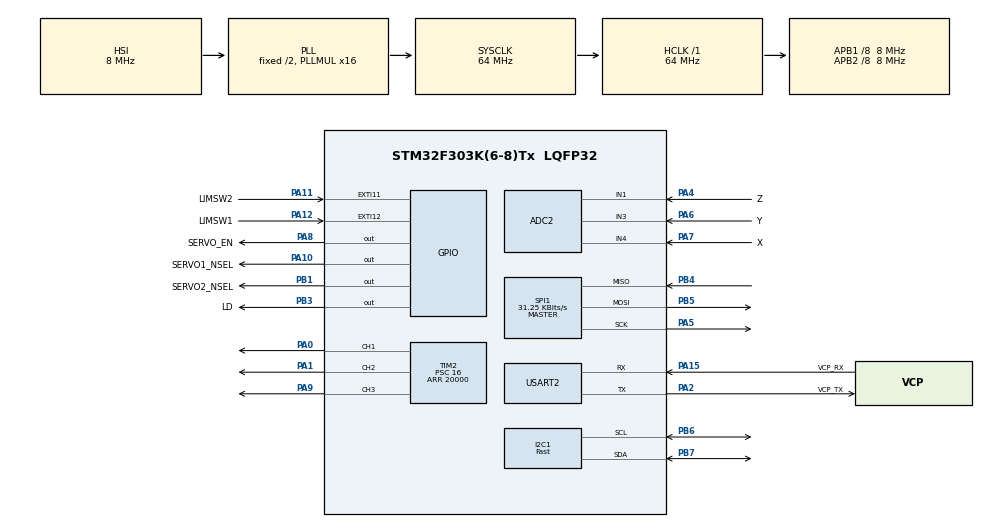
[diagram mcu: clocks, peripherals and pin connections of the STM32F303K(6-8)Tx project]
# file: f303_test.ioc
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Mcu.Family=STM32F3
NVIC.ADC1_2_IRQn=true\:0\:0\:false\:false\:true\:true\:true
ADC2.OffsetNumber-2\#ChannelRegularConversion=ADC_OFFSET_NONE
RCC.CortexFreq_Value=64000000
I2C1.I2C_Speed_Mode=I2C_Fast
PF0\ /\ OSC_IN.Mode=HSE-External-Clock-Source
SPI1.VirtualType=VM_MASTER
ADC2.SamplingTime-1\#ChannelRegularConversion=ADC_SAMPLETIME_601CYCLES_5
ADC2.Channel-0\#ChannelRegularConversion=ADC_CHANNEL_1
PA10.GPIO_PuPd=GPIO_PULLUP
SH.SharedAnalog_PA4.0=GPIO_Analog
SH.SharedAnalog_PA4.1=ADC2_IN1,IN1-Single-Ended
PA14.GPIO_Label=SWCLK
RCC.SYSCLKSourceVirtual=RCC_SYSCLKSOURCE_PLLCLK
PA6.GPIO_Label=Y
TIM2.Channel-PWM\ Generation2\ CH2=TIM_CHANNEL_2
ProjectManager.StackSize=0x400
PA15.GPIO_Label=VCP_RX
PA12.Signal=GPXTI12
ADC2.DMAContinuousRequests=ENABLE
SPI1.Direction=SPI_DIRECTION_2LINES
PB1.GPIO_PuPd=GPIO_PULLUP
RCC.HCLKFreq_Value=64000000
RCC.APB2TimFreq_Value=16000000
PB6.Signal=I2C1_SCL
PB6.Mode=I2C
SPI1.CalculateBaudRate=31.25 KBits/s
RCC.AHBFreq_Value=64000000
RCC.HSE_VALUE=8000000
USART2.VirtualMode-Asynchronous=VM_ASYNC
PA15.Mode=Asynchronous
RCC.PLLMUL=RCC_PLL_MUL16
Dma.ADC2.1.Instance=DMA1_Channel2
PB4.Mode=Full_Duplex_Master
PA14.Mode=Serial_Wire
PF0\ /\ OSC_IN.GPIO_Label=MCO
Dma.MEMTOMEM.0.Instance=DMA1_Channel1
PB1.GPIO_Label=SERVO2_NSEL
PB5.Mode=Full_Duplex_Master
NVIC.TIM2_IRQn=true\:0\:0\:false\:false\:true\:true\:true
SPI1.DataSize=SPI_DATASIZE_16BIT
PA10.GPIO_Label=SERVO1_NSEL
SH.SharedAnalog_PA6.0=GPIO_Analog
SH.SharedAnalog_PA6.1=ADC2_IN3,IN3-Single-Ended
PB7.Signal=I2C1_SDA
PA8.Signal=GPIO_Output
Dma.ADC2.1.PeriphInc=DMA_PINC_DISABLE
TIM2.Channel-PWM\ Generation1\ CH1=TIM_CHANNEL_1
PA0.Signal=S_TIM2_CH1_ETR
Mcu.Package=LQFP32
TIM2.Prescaler=16
PA6.Signal=SharedAnalog_PA6
PB1.Signal=GPIO_Output
ADC2.Offset-0\#ChannelRegularConversion=0
Dma.MEMTOMEM.0.PeriphInc=DMA_PINC_ENABLE
PA2.GPIO_Label=VCP_TX
ADC2.Channel-1\#ChannelRegularConversion=ADC_CHANNEL_3
PA10.Signal=GPIO_Output
ADC2.Offset-2\#ChannelRegularConversion=0
PA15.Signal=USART2_RX
ADC2.SamplingTime-0\#ChannelRegularConversion=ADC_SAMPLETIME_601CYCLES_5
RCC.APB2CLKDivider=RCC_HCLK_DIV8
ADC2.SamplingTime-2\#ChannelRegularConversion=ADC_SAMPLETIME_601CYCLES_5
ADC2.NbrOfConversion=3
Dma.Request1=ADC2
RCC.APB1TimFreq_Value=16000000
ADC2.Rank-2\#ChannelRegularConversion=3
ADC2.Rank-0\#ChannelRegularConversion=1
Dma.Request0=MEMTOMEM
SPI1.BaudRatePrescaler=SPI_BAUDRATEPRESCALER_256
PA4.GPIO_Label=Z
Dma.ADC2.1.PeriphDataAlignment=DMA_PDATAALIGN_HALFWORD
PB4.Signal=SPI1_MISO
PA5.Mode=Full_Duplex_Master
PB3.GPIO_Label=LD
Dma.MEMTOMEM.0.MemDataAlignment=DMA_MDATAALIGN_BYTE
Dma.MEMTOMEM.0.Priority=DMA_PRIORITY_LOW
PA11.GPIO_Label=LIMSW2
RCC.APB1CLKDivider=RCC_HCLK_DIV8
NVIC.USART2_IRQn=true\:0\:0\:false\:false\:true\:true\:true
PA12.GPIO_Label=LIMSW1
PA13.Signal=SYS_JTMS-SWDIO
SH.S_TIM2_CH2.0=TIM2_CH2,PWM Generation2 CH2
PA8.GPIO_Label=SERVO_EN
SH.SharedAnalog_PA7.1=ADC2_IN4,IN4-Single-Ended
ADC2.ContinuousConvMode=ENABLE
NVIC.DMA1_Channel2_IRQn=true\:0\:0\:false\:false\:true\:false\:true
ProjectManager.TargetToolchain=SW4STM32
SH.SharedAnalog_PA7.0=GPIO_Analog
PA9.Signal=S_TIM2_CH3
I2C1.Timing=0x0000020B
Dma.ADC2.1.Mode=DMA_CIRCULAR
PA1.Signal=S_TIM2_CH2
ADC2.OffsetNumber-1\#ChannelRegularConversion=ADC_OFFSET_NONE
PA5.Signal=SPI1_SCK
ADC2.OffsetNumber-0\#ChannelRegularConversion=ADC_OFFSET_NONE
board=NUCLEO-F303K8
ADC2.Channel-2\#ChannelRegularConversion=ADC_CHANNEL_4
ADC2.Offset-1\#ChannelRegularConversion=0
RCC.APB2Freq_Value=8000000
PF0\ /\ OSC_IN.Signal=RCC_OSC_IN
SH.S_TIM2_CH3.0=TIM2_CH3,PWM Generation3 CH3
SPI1.Mode=SPI_MODE_MASTER
TIM2.Channel-PWM\ Generation3\ CH3=TIM_CHANNEL_3
Dma.ADC2.1.MemInc=DMA_MINC_ENABLE
TIM2.Period=20000
PA13.Mode=Serial_Wire
Mcu.Name=STM32F303K(6-8)Tx
PA2.Signal=USART2_TX
PA13.GPIO_Label=SWDIO
Dma.MEMTOMEM.0.PeriphDataAlignment=DMA_PDATAALIGN_BYTE
PB3.Signal=GPIO_Output
PA4.Signal=SharedAnalog_PA4
RCC.SYSCLKFreq_VALUE=64000000
PB5.Signal=SPI1_MOSI
Dma.ADC2.1.Direction=DMA_PERIPH_TO_MEMORY
PA7.GPIO_Label=X
ADC2.NbrOfConversionFlag=1
Dma.MEMTOMEM.0.Mode=DMA_NORMAL
Dma.MEMTOMEM.0.MemInc=DMA_MINC_ENABLE
PB7.Mode=I2C
PA11.Signal=GPXTI11
SH.S_TIM2_CH1_ETR.0=TIM2_CH1,PWM Generation1 CH1
PA14.Signal=SYS_JTCK-SWCLK
ProjectManager.HeapSize=0x200
RCC.HSI_VALUE=8000000
PA8.GPIO_PuPd=GPIO_PULLDOWN
NVIC.PriorityGroup=NVIC_PRIORITYGROUP_4
Dma.ADC2.1.MemDataAlignment=DMA_MDATAALIGN_HALFWORD
ADC2.Rank-1\#ChannelRegularConversion=2
PA2.Mode=Asynchronous
Dma.MEMTOMEM.0.Direction=DMA_MEMORY_TO_MEMORY
Dma.ADC2.1.Priority=DMA_PRIORITY_LOW
NVIC.DMA1_Channel1_IRQn=true\:0\:0\:false\:false\:true\:true\:true
RCC.APB1Freq_Value=8000000
PA7.Signal=SharedAnalog_PA7

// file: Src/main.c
/* USER CODE BEGIN Header */
/**
  ******************************************************************************
  * @file           : main.c
  * @brief          : Main program body
  ******************************************************************************
  * @attention
  *
  * <h2><center>&copy; Copyright (c) 2020 STMicroelectronics.
  * All rights reserved.</center></h2>
  *
  * This software component is licensed by ST under BSD 3-Clause license,
  * the "License"; You may not use this file except in compliance with the
  * License. You may obtain a copy of the License at:
  *                        opensource.org/licenses/BSD-3-Clause
  *
  ******************************************************************************
  */
/* USER CODE END Header */

#include "main.h"
#include "adc.h"
#include "dma.h"
#include "i2c.h"
#include "spi.h"
#include "tim.h"
#include "usart.h"
#include "gpio.h"

/* USER CODE BEGIN Includes */
#include "ik_test.h"
#include <stdlib.h>
#include "kin.h"
#include "traj.h"
#include "traj_qsp.h"
#include "consts.h"
#include "math_util.h"
#include "as1130.h"
#include "imath.h"
#include "hand_ctrl.h"
#include <math.h>
#include <string.h>
//#include <math.h>
/* USER CODE END Includes */

/* USER CODE BEGIN PV */
volatile global_state_t __STATE = GLOBAL_RESET;

typedef struct hand_ctrl_cfg_s {
	int16_t rng[2];
	uint16_t lims[2];
	int8_t sgn;
} hand_ctrl_cfg_t;
volatile uint16_t hand_ctrl_buf[NUM_HAND_CTRL_BUF * NUM_HAND_CTRL_AX] = { 0 };
uint16_t hand_ctrl_buf_2[NUM_HAND_CTRL_BUF * NUM_HAND_CTRL_AX] = { 0 };
int32_t hand_ctrl_norm[2][NUM_HAND_CTRL_AX] = { 0 };
const int32_t HAND_CTRL_D_COEF[NUM_HAND_CTRL_D_COEF] = { -85, 384, -768, 469 };
const hand_ctrl_cfg_t HAND_CTRL_RNGS[NUM_HAND_CTRL_AX] = {
//	{ .rng = { 800, 4600 }, .lims = { 1200, 4096 }, .sgn = 1 },
//	{ .rng = { 0, 3198 }, .lims = { 0/, 1600 }, .sgn = -1 },
//	{ .rng = { -500, 4600 }, .lims = { 509, 3600 }, .sgn = 1 },
		{ .rng = { -500, 5096 }, .lims = { 0, 4096 }, .sgn = 1 },
		{ .rng = { 0, 3198 }, .lims = { 0, 1600 }, .sgn = -1 },
		{ .rng = { -1000, 5600 }, .lims = { 0, 4096 }, .sgn = 1 },
};
extern const int16_t HAND_CTRL_LUT[8][16][16][2][3];
// map the ADC via channel order to XYZ

//volatile uint8_t adc_ch = 0, adc_buf_idx = 0;
int16_t pos_dbl_buf[2][NUM_POS_ELE] = { 0 };
volatile int16_t pos[NUM_POS_ELE] = { 0 };
volatile uint8_t _buf_fresh = 0, _con_fresh = 0;
volatile uint16_t tick_fin_buf = 0, tick_fin = 0, tick_start_buf = 0, tick_cur = 1; // start with consumer hungry
int32_t A[4] = { 0, A1, A2, A3 };

volatile int32_t uart_buf[20], uart_buf_b[20];

extern DMA_HandleTypeDef hdma_adc2;
extern UART_HandleTypeDef huart2;
const joint_phys_t JOINT_PHYS[3] = {
		{ T0_HW, SMAX_HW, I_HW },
		{ T0_HS, SMAX_HS, I_HS },
		{ T0_DS, SMAX_DS, I_DS },
};
const uint16_t MIDs[3] = { CCR_MID_HW, CCR_MID_HS, CCR_MID_DS };
const uint16_t RNGs[3] = { RNG_HW / 2, RNG_HS / 2, RNG_DS / 2 };
const uint16_t PER_RADS[3] = { CCR_PER_RAD_HW, CCR_PER_RAD_HS, CCR_PER_RAD_DS };
int32_t vf_prev[3] = { 0 }; // previous final velocity
int32_t t_prev[3] = { 0 }; // previous target angles (after inv kin)
const int8_t RHR_SGNS[3] = { SGN_HW, SGN_HS, SGN_DS };

// bitmaps
extern const uint8_t bump[NBUMP][NBUMP];
/* USER CODE END PV */

void SystemClock_Config(void);
/* USER CODE BEGIN PFP */
static void sph2xyz(int32_t *sph, int32_t *sphd, int32_t *xyz, int32_t *xyzd);
uint16_t pos_idx(void);
void mcp1130_txrx(void);
static void adc_rx();
/* USER CODE END PFP */

int main(void)
{

  /* MCU Configuration--------------------------------------------------------*/

  /* Reset of all peripherals, Initializes the Flash interface and the Systick. */
  HAL_Init();

  /* Configure the system clock */
  SystemClock_Config();

  /* Initialize all configured peripherals */
  MX_GPIO_Init();
  MX_DMA_Init();
  MX_USART2_UART_Init();
  MX_ADC2_Init();
  MX_I2C1_Init();
  MX_SPI1_Init();
  MX_TIM2_Init();
  /* USER CODE BEGIN 2 */

  HAL_TIM_Base_Start_IT(&htim2);

//  AS1130_Init();

  htim2.Instance->CCER |= TIM_CCER_CC1E | TIM_CCER_CC2E | TIM_CCER_CC3E;

  HAL_GPIO_WritePin(SERVO_EN_GPIO_Port, SERVO_EN_Pin, GPIO_PIN_SET);
  uint16_t R0 = A[1] + A[2] + A[3];

  mcp1130_txrx();
  adc_rx();

  ////////////
  // HOMING //
  ////////////

  __STATE = GLOBAL_HOMING;
  //  __HAL_TIM_SET_COMPARE(&htim2, TIM_CHANNEL_1, MIDs[1] - RNGs[1]);
  //  while(1);
//  for(; 0 && __STATE == GLOBAL_HOMING && HAL_GPIO_ReadPin(LIMSW1_GPIO_Port, LIMSW1_Pin); j0_ccr_adjust = max(MIN_HOMING_CCR, j0_ccr_adjust - HOMING_STRIDE)) {
//	  __HAL_TIM_SET_COMPARE(&htim2, TIM_CHANNEL_3, MIDs[0] + j0_ccr_adjust);
//	  HAL_Delay(HOMING_TICK);
//  }
  __STATE = GLOBAL_RUN;
  /* USER CODE END 2 */

  /* Infinite loop */
  /* USER CODE BEGIN WHILE */
  int16_t pos_stash[POS_STRIDE] = { 0 };
  for (volatile uint32_t ticks = 0; ; ticks++)
  {
    /* USER CODE END WHILE */

    /* USER CODE BEGIN 3 */
	  if(0) {
		  uint16_t tick = pos_idx();
		  uint16_t loc[2] = {
				  (pos[tick * POS_STRIDE + 1 * NUM_POS_DERIV] * PER_RADS[1] / RNGs[1] / 2) + 127,
				  -(pos[tick * POS_STRIDE + 0 * NUM_POS_DERIV] * PER_RADS[0] / RNGs[0] / 2) + 127,
		  };
		  uint8_t *square = bump; // { 0x80, 0x80, 0x80, 0x80, 0x80, 0x80, 0x80, 0x80, 0x80, };
		  uint16_t dims[2] = { NBUMP, NBUMP }; // { 3, 3 };
		  uint16_t scale[2] = {
				  32, // + abs(pos[tick * POS_STRIDE + 0 * NUM_POS_DERIV] - pos[max(0, tick - 1) * POS_STRIDE + 0 * NUM_POS_DERIV]) * 512 * 6 / NBUMP,
				  32, // + abs(pos[tick * POS_STRIDE + 1 * NUM_POS_DERIV] - pos[max(0, tick - 1) * POS_STRIDE + 1 * NUM_POS_DERIV]) * 512 * 6 / NBUMP
		  };
		  AS1130_blit(square, dims, loc, scale);
	  }

	  {
		  float max_tf = 0.0f, tf[3] = { 0 };
		  int32_t xyz[3] = { 0 }, xyzd[3] = { 0 }, t[3] = { 0 }, v[3] = { 0 }, tp[3] = { 0 };
		  float tp_[3];
		  uint8_t _converged = 0, _hand_ctrl_moved = 0;

		  ///////////////////////////////
		  // CONVERSIONS FOR HAND CTRL //
		  ///////////////////////////////

		  // calculate hand controller speeds
		  uint8_t hand_ctrl_i0;
		  {
			  size_t tf_size = NUM_HAND_CTRL_BUF * NUM_HAND_CTRL_AX * sizeof(hand_ctrl_buf[0]);
			  //			  __disable_irq();
			  // sensitive region copying buffer
			  // consider disabling interrupts
			  // although this should happen much faster than values change on the controller
			  // that's what's really important
			  hand_ctrl_i0 = hdma_adc2.Instance->CNDTR;
			  memcpy(hand_ctrl_buf_2, hand_ctrl_buf, tf_size);
			  //			  __enable_irq();
		  }

		  hand_ctrl_i0 /= NUM_HAND_CTRL_AX; // watch for round-down division
		  hand_ctrl_i0 = (NUM_HAND_CTRL_BUF - hand_ctrl_i0 + 2) % NUM_HAND_CTRL_BUF; // (NUM_HAND_CTRL_BUF - NUM_HAND_CTRL_D_COEF - 1)
		  int32_t hand_ctrl_d_buf[NUM_HAND_CTRL_D_COEF][NUM_HAND_CTRL_AX] = { 0 },
				  hand_ctrl_d[NUM_HAND_CTRL_AX] = { 0 }; // 256-units
		  {
			  uint16_t stride = NUM_HAND_CTRL_BUF / NUM_HAND_CTRL_D_COEF / HAND_CTRL_BUF_DS - 1, // -1 to ensure we always miss at least the one potentially incomplete sample currently being DMA'd
					  n_iter = stride * NUM_HAND_CTRL_D_COEF;
			  // downsample by `stride` via averaging
			  // plus hard downsampling by HAND_CTRL_BUF_DS
			  for(uint16_t i = 0; i < n_iter; i++) {
				  for(uint16_t k = 0; k < NUM_HAND_CTRL_AX; k++) {
					  hand_ctrl_d_buf[i / stride][k] +=
							  max(HAND_CTRL_RNGS[k].lims[0],
									  min(HAND_CTRL_RNGS[k].lims[1],
											  hand_ctrl_buf_2[((hand_ctrl_i0 + i * HAND_CTRL_BUF_DS) & (NUM_HAND_CTRL_BUF - 1)) * NUM_HAND_CTRL_AX + k]
									  )
							  );
				  }
			  }
			  for(uint16_t i = 0; i < NUM_HAND_CTRL_D_COEF; i++) {
				  for(uint16_t k = 0; k < NUM_HAND_CTRL_AX; k++) {
					  hand_ctrl_d_buf[i][k] /= stride;
				  }
			  }

			  // perform derivative
			  if(0) {
				  const uint16_t HALF_ADC_BITS = 9;
				  for(uint16_t i = 0; i < NUM_HAND_CTRL_D_COEF; i++) {
					  for(uint16_t k = 0; k < NUM_HAND_CTRL_AX; k++)
						  hand_ctrl_d[k] +=
								  ((hand_ctrl_d_buf[i][k] * HAND_CTRL_D_COEF[i]) >> HALF_ADC_BITS) // cut down dynamic range a bit
								  * R0 / (stride * HAND_CTRL_BUF_DS) * ADC_FREQ / NUM_HAND_CTRL_AX
								  / ((HAND_CTRL_RNGS[k].rng[1] - HAND_CTRL_RNGS[k].rng[0] >> 1) >> HALF_ADC_BITS)
								  * HAND_CTRL_RNGS[k].sgn
								  >> _W; // convert to 256-m/s
				  }
			  }

			  // average previously subsampled values
			  memset(&hand_ctrl_norm[1][0], 0, NUM_HAND_CTRL_AX * sizeof(hand_ctrl_norm[1][0]));
			  for(uint16_t i = 0; i < NUM_HAND_CTRL_D_COEF; i++) {
				  for(uint16_t k = 0; k < NUM_HAND_CTRL_AX; k++)
					  hand_ctrl_norm[1][k] +=
							  ((hand_ctrl_d_buf[i][k] - ((HAND_CTRL_RNGS[k].rng[1] + HAND_CTRL_RNGS[k].rng[0]) >> 1)) << _W)
							  / (HAND_CTRL_RNGS[k].rng[1] - HAND_CTRL_RNGS[k].rng[0] >> 1)
							  * HAND_CTRL_RNGS[k].sgn;
			  }
			  for(uint16_t k = 0; k < NUM_HAND_CTRL_AX; k++) {
				  hand_ctrl_norm[1][k] /= NUM_HAND_CTRL_D_COEF; // convert to 256-norm (+/-1) centered around 0
			  }

			  for(uint8_t i = 0; i < NUM_HAND_CTRL_AX; i++) {
				  if(abs(hand_ctrl_norm[0][i] - hand_ctrl_norm[1][i]) > HAND_CTRL_DEADBAND) {
					  memcpy(&hand_ctrl_norm[0][0], &hand_ctrl_norm[1][0], NUM_HAND_CTRL_AX * sizeof(hand_ctrl_norm[1][0]));
					  _hand_ctrl_moved = 1;
					  // itrig functions domain 0->256 => 0->2pi, range -128->127 => -1->1
					  // controller 0 1 2 -> yaw radius pitch
//					  int32_t sph = { hand_ctrl_norm[0][2], hand_ctrl_norm[0][0], hand_ctrl_norm[0][1] };
//					  int32_t sphd = { hand_ctrl_d[2], hand_ctrl_d[0], hand_ctrl_d[1] };
//					  sph2xyz(sph, sphd, xyz, xyzd);
					  break;
				  }
			  }
		  }

		  int16_t tick_fin_stash, tick_cur_stash;
		  {
			  __disable_irq();
			  _con_fresh = 0;
			  tick_fin_stash = tick_fin;
			  tick_cur_stash = tick_cur;
			  uint16_t tick = pos_idx();
			  memcpy(pos_stash, &pos[tick * POS_STRIDE], POS_STRIDE * sizeof(pos[0]));
			  __enable_irq();
		  }

		  if(_hand_ctrl_moved) { // (!inv_kin(A, Ts_[Ts_idx & (NUM_CART_POS - 1)], t, t_prev[0]) && !inv_jacob(A, t, &Ts_[Ts_idx & (NUM_CART_POS - 1)][3], tp_)) { // uart_buf, uart_buf[3]
			  uint32_t dist_wgts[3] = { 2, 1, 1 };
			  {
				  // az, el, rad
				  int32_t sph[3] = { -hand_ctrl_norm[0][2], hand_ctrl_norm[0][0], hand_ctrl_norm[0][1] };
				  int32_t sphd[3] = { hand_ctrl_d[2], hand_ctrl_d[0], hand_ctrl_d[1] };
				  uint8_t lut_xyz[3] = { abs(sph[0]) >> (_W - 3), (sph[1] + (1 << _W)) >> ((_W + 1) - 4), sph[2] >> (_W - 4) };
				  uart_buf[0] = lut_xyz[0];uart_buf[1] = lut_xyz[1];uart_buf[2] = lut_xyz[2];
				  uint32_t min_dist = 0xFFFFFFFF;
				  for(uint8_t i = 0; i < 2; i++) {
					  int16_t *t_ = &HAND_CTRL_LUT[lut_xyz[0]][lut_xyz[1]][lut_xyz[2]][i][0];
					  if(t_[0] != HAND_CTRL_LUT_NONE) {
						  uint32_t dist = 0;
						  for(uint8_t j = 0; j < 3; j++) {
							  dist += dist_wgts[j] * abs(t_[j] - pos_stash[j]);
						  }
						  if(dist < min_dist) {
							  for(uint8_t j = 0; j < 3; j++) {
								  t[j] = t_[j];
							  }
							  t[1] *= sgn(sph[0]);
							  min_dist = dist;
							  _converged = 1;
						  }
					  }
				  }
			  }

			  if(0) {
				  IkSingleDOFSolutionBase solns[8] = { 0 };

				  int sol_idxs[8] = { 0 };
				  float xyzf[3] = { // remap axes: zxy <- xyz
					(float)xyz[1] / (1 << _W),
					(float)xyz[2] / (1 << _W),
					-(float)xyz[0] / (1 << _W),
				  };
				  float min_dist = infinityf();
				  ComputeIk(xyzf, solns, sol_idxs);
				  for(uint8_t i = 0; i < 8; i++) {
					  float dist = 0.0f;
					  if(sol_idxs[i]) {
						  for(uint8_t j = 0; j < 3; j++) {
							  dist += dist_wgts[j] * fabs(solns[i].sols[j].foffset - (float)pos_stash[j] / (1 << _W));
						  }
						  if(dist < min_dist) {
							  for(uint8_t j = 0; j < 3; j++) {
								  t[j] = (int32_t)(solns[i].sols[j].foffset * (1 << _W));
							  }
							  min_dist = dist;
							  _converged = 1;
						  }
					  }
				  }
				  // inv_jacob adds about 12KB to the program due to LAPACK: be cautious about enabling
	//			  if(_converged && inv_jacob(A, t, xyzd, tp_)) {
	//				  for(uint8_t i = 0; i < 3; i++) {
	//					  tp[i] = (int32_t)(tp_[i] * (1 << _W));
	//				  }
	//			  }
			  }
		  }

		  for(uint8_t i = 0; i < 3 && _converged; i++) {
			  uint8_t j = 0;
			  for(
					  int32_t va_ = pos_stash[i * NUM_POS_DERIV + 1], //  * (int32_t)tick_fin_buf / TIM2_FREQ
					  vb_ = tp[i]
							   ; j < TRAJ_ITER_LIM
							   ; va_ /= 2, vb_ /= 2, j++
			  ) {
				  if(!traj_qsp(
						  I2F(pos_stash[i * NUM_POS_DERIV]),
						  I2F(t[i]),
						  I2F(va_),
						  I2F(vb_),
						  &JOINT_PHYS[i],
						  &tf[i])
					) {
					  v[i] = vb_;
					  //						  if(tf_ > 2 * MAX_TF)
					  //							  _converged = 0;
					  break;
				  }
			  }
			  if(j == TRAJ_ITER_LIM) {
				  _converged = 0;
				  break;
			  }
		  }
		  if(_converged) {
			  HAL_GPIO_TogglePin(LD_GPIO_Port, LD_Pin);
			  for(uint8_t i = 0; i < 3; i++) {
				  if(tf[i] > max_tf)
					  max_tf = tf[i];
			  }
			  tick_fin_buf = max_tf * TIM2_FREQ * SPEEDUP_FACTOR_D / SPEEDUP_FACTOR_N; // WATCH: TIM2_FREQ is base units
			  tick_fin_buf = max(1, tick_fin_buf);

			  for(uint8_t i = 0; i < NUM_POS; i++) {
				  for(volatile uint8_t j = 0; j < 3; j++) {
					  float pos_[NUM_POS_DERIV] = { 0 };
					  lerp_qsp(
						I2F(pos_stash[j * NUM_POS_DERIV]),
						I2F(t[j]),
						I2F(pos_stash[j * NUM_POS_DERIV + 1]),
						I2F(v[j]),
						max_tf,
						(i * max_tf) / (NUM_POS - 1),
						pos_
					  );
					  for(uint8_t k = 0; k < NUM_POS_DERIV; k++) {
						  pos_dbl_buf[0][i * POS_STRIDE + j * NUM_POS_DERIV + k] = F2I(pos_[k]);
					  }
					  // WATCH: NUM_POS and PER_RADS is natural units
					  // interestingly, the integer arithmetic introduces rounding-like errors, not only floor-like errors (e.g. skips up to 2)
				  }
			  }
			  _buf_fresh = 0;
			  while(hdma_memtomem_dma1_channel1.Instance->CNDTR); // wait for DMA to finish transferring buffer
			  uint16_t next_tick_start;
			  if(_con_fresh) {
				  // i.e. it took a fresh buffer in the time it took to calculate the next result
				  // by smoothness and speed, the linear approximation says we're okay to jump by the number of ticks elapsed
				  next_tick_start = tick_cur - tick_start_buf;
			  }
			  else {
				  next_tick_start = tick_cur - tick_cur_stash;
			  }
			  if(next_tick_start < tick_fin_buf) {
				  // possible that the timer might have taken the recent buffer and outstripped the brand new one we made
				  // in that case, trash this conversion
				  memcpy(&pos_dbl_buf[1][0], &pos_dbl_buf[0][0], sizeof(pos_dbl_buf[0][0]) * NUM_POS_ELE);
				  tick_start_buf = next_tick_start;
				  _buf_fresh = 1;
			  }
			  _con_fresh = 0;

			  for(uint16_t i = 0; i < 3; i++) {
//				  uart_buf[i] = hand_ctrl_d_buf[0][i];
//				  uart_buf[3 + i] = xyz[i];
//				  uart_buf[i] = pos_dbl_buf[0][NUM_POS_ELE - POS_STRIDE + i * NUM_POS_DERIV];
				  uart_buf[3 + i] = pos_stash[i * 2 + 1];
				  uart_buf[6 + i] = t[i];
				  uart_buf[i] = pos_stash[i * 2];
			  }
//			  memcpy(&uart_buf[6], &max_tf, 4);
			  uart_buf[10] = HAL_GetTick();
			  uart_buf[9] = tick_fin_buf;
			  HAL_UART_Transmit(&huart2, uart_buf, 11 * sizeof(uart_buf[0]), 50);
		  }
	  }

  }
  /* USER CODE END 3 */
}

void SystemClock_Config(void)
{
  RCC_OscInitTypeDef RCC_OscInitStruct = {0};
  RCC_ClkInitTypeDef RCC_ClkInitStruct = {0};
  RCC_PeriphCLKInitTypeDef PeriphClkInit = {0};

  /** Initializes the CPU, AHB and APB busses clocks
  */
  RCC_OscInitStruct.OscillatorType = RCC_OSCILLATORTYPE_HSI;
  RCC_OscInitStruct.HSIState = RCC_HSI_ON;
  RCC_OscInitStruct.HSICalibrationValue = RCC_HSICALIBRATION_DEFAULT;
  RCC_OscInitStruct.PLL.PLLState = RCC_PLL_ON;
  RCC_OscInitStruct.PLL.PLLSource = RCC_PLLSOURCE_HSI;
  RCC_OscInitStruct.PLL.PLLMUL = RCC_PLL_MUL16;
  if (HAL_RCC_OscConfig(&RCC_OscInitStruct) != HAL_OK)
  {
    Error_Handler();
  }
  /** Initializes the CPU, AHB and APB busses clocks
  */
  RCC_ClkInitStruct.ClockType = RCC_CLOCKTYPE_HCLK|RCC_CLOCKTYPE_SYSCLK
                              |RCC_CLOCKTYPE_PCLK1|RCC_CLOCKTYPE_PCLK2;
  RCC_ClkInitStruct.SYSCLKSource = RCC_SYSCLKSOURCE_PLLCLK;
  RCC_ClkInitStruct.AHBCLKDivider = RCC_SYSCLK_DIV1;
  RCC_ClkInitStruct.APB1CLKDivider = RCC_HCLK_DIV8;
  RCC_ClkInitStruct.APB2CLKDivider = RCC_HCLK_DIV8;

  if (HAL_RCC_ClockConfig(&RCC_ClkInitStruct, FLASH_LATENCY_2) != HAL_OK)
  {
    Error_Handler();
  }
  PeriphClkInit.PeriphClockSelection = RCC_PERIPHCLK_I2C1|RCC_PERIPHCLK_ADC12;
  PeriphClkInit.Adc12ClockSelection = RCC_ADC12PLLCLK_DIV1;
  PeriphClkInit.I2c1ClockSelection = RCC_I2C1CLKSOURCE_HSI;
  if (HAL_RCCEx_PeriphCLKConfig(&PeriphClkInit) != HAL_OK)
  {
    Error_Handler();
  }
}

/* USER CODE BEGIN 4 */
volatile int32_t I_safety = 0, ERROR_safety = 0;
volatile uint16_t I_safety_buf = 0, ERROR_safety_buf = 0;
volatile uint8_t mcp1130_ch = 1;
volatile uint16_t mcp1130_mosi = 0;
void mcp1130_txrx() {
	HAL_GPIO_WritePin(SERVO2_NSEL_GPIO_Port, SERVO2_NSEL_Pin, GPIO_PIN_SET);
	asm("nop;nop;nop;nop;nop;nop;nop;nop;nop;nop;nop;nop;nop;nop;nop;nop;"); // try to guarantee at least 330ns of hold time
	HAL_GPIO_WritePin(SERVO2_NSEL_GPIO_Port, SERVO2_NSEL_Pin, GPIO_PIN_RESET);
	asm("nop;nop;nop;nop;nop;"); // try to guarantee at least 100/0.96 ns of hold time
	mcp1130_mosi = MCP3002_CONFIG | (mcp1130_ch << MCP3002_ODD_SIGN_Pos);
	volatile uint16_t *rx = mcp1130_ch ? &ERROR_safety_buf : &I_safety_buf;
	HAL_SPI_TransmitReceive_IT(&hspi1, &mcp1130_mosi, rx, 1);
}
void adc_rx(void) {
	HAL_ADC_Start_DMA(&hadc2, hand_ctrl_buf, NUM_HAND_CTRL_BUF * NUM_HAND_CTRL_AX);
}
uint16_t pos_idx(void) {
	return min(NUM_POS - 1, (tick_cur * (NUM_POS - 1)) / tick_fin);
}
static void sph2xyz(int32_t *sph, int32_t *sphd, int32_t *xyz, int32_t *xyzd) {
	// sph arguments are azimuth, elevation, radius
	// `sph` angles are normalized -256 - 256 => -pi/2 - pi/2
	// `sph` radius is in normalized 256 => [HAND_R0, HAND_R1]

	int32_t az = (sph[0] * 184) >> (_W + 2), // 184 = UNFLOAT (1.13 / (PI / 2))
			el = ((sph[1] * 416 >> _W) + 160) >> 2; // UNFLOAT range [-10/16, 1]
	  int32_t caz = icos(az), cel = icos(el),
			  saz = isin(az), sel = isin(el);
	  int32_t R = (sph[2] * (HAND_R1 - HAND_R0) >> _W) + HAND_R0;
	  xyz[0] = (cel * saz >> (_W - 2)) * R >> _W;
	  xyz[1] = (cel * caz >> (_W - 2)) * R >> _W;
	  xyz[2] = (sel << 1) * R >> _W;

	  xyzd[0] = (((-sel * saz * sphd[1] + cel * caz * sphd[0]) >> (_TW - 2)) * R + xyz[0] * sphd[2]) >> _W; // dx/dt
	  xyzd[1] = (-((sel * caz * sphd[1] + cel * saz * sphd[0]) >> (_TW - 2)) * R + xyz[1] * sphd[2]) >> _W; // dy/dt
	  xyzd[2] = ((cel * sphd[1] >> (_W - 1)) * R + xyz[2] * sphd[2]) >> _W; // dz/dt
}
/* USER CODE END 4 */

void Error_Handler(void)
{
}

/************************ (C) COPYRIGHT STMicroelectronics *****END OF FILE****/
